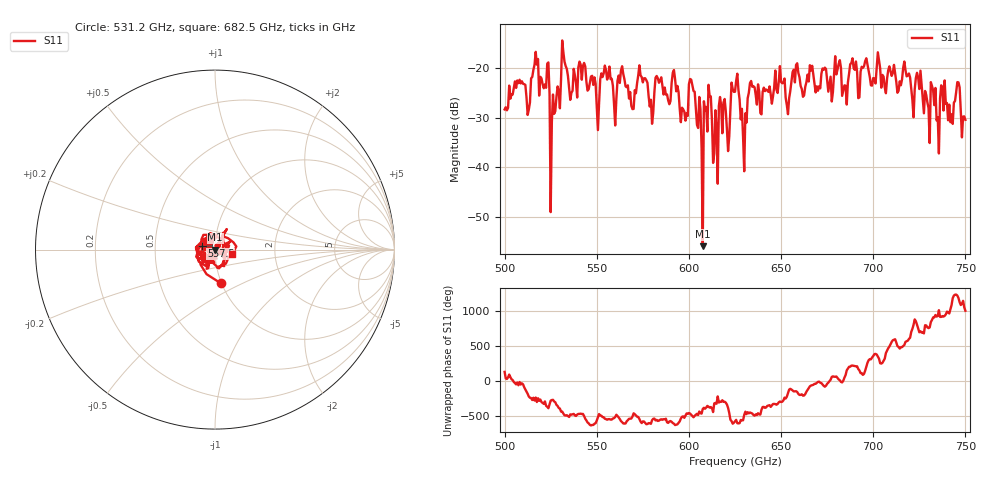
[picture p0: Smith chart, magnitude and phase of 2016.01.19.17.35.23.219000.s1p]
!Created with skrf (http://scikit-rf.org).
# GHz S RI R 50.0
!freq ReS11 ImS11
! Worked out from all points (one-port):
!   401 points, 500 GHz to 750 GHz, reference 50 ohm
!   lowest |S11| = -55.9 dB at 607.5 GHz (marker M1), VSWR 1.00, Z = 50.1 - j0.109 ohm
!   |S11| at or under -10 dB: start of sweep to end of sweep
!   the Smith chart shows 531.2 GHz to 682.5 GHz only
!   S11 on the Smith chart (normalised r, x): 531.2 GHz: 0.99, -0.38; 557.5 GHz: 0.86, +0.03; 682.5 GHz: 1.21, -0.06
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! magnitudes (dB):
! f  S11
! 500 GHz  -28.3
! 513.1 GHz  -28.4
! 516.9 GHz  -16.7
! 523.1 GHz  -19.1
! 526.2 GHz  -25.3
! 531.2 GHz  -14.4
! 550.6 GHz  -32.5
! 557.5 GHz  -22.2
! 562.5 GHz  -23.0
! 568.8 GHz  -27.6
! 573.1 GHz  -19.4
! 579.4 GHz  -26.4
! 593.8 GHz  -23.6
! 598.1 GHz  -30.6
! 601.9 GHz  -23.5
! 607.5 GHz  -55.9
! 610.6 GHz  -23.4
! 614.4 GHz  -28.5
! 617.5 GHz  -27.6
! 621.2 GHz  -36.7
! 625 GHz  -24.8
! 630 GHz  -40.8
! 633.8 GHz  -22.6
! 656.2 GHz  -20.8
! 682.5 GHz  -20.0
! 687.5 GHz  -19.2
! 718.8 GHz  -21.5
! 750 GHz  -30.4
